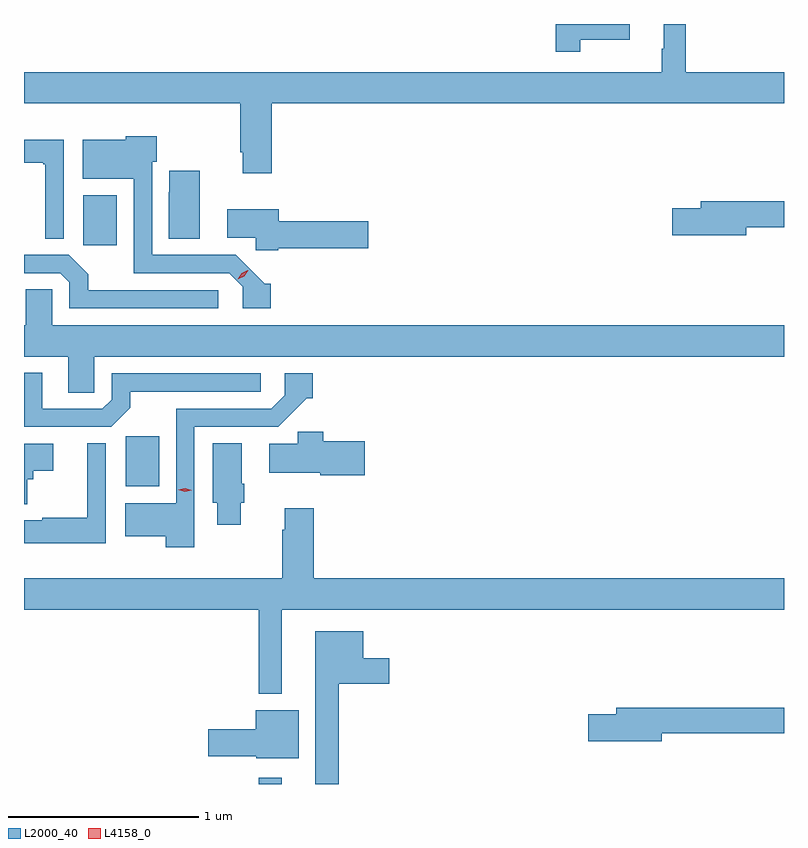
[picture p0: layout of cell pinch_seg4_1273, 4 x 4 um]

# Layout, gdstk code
import gdstk
lib = gdstk.Library(unit=1e-6, precision=1e-09)
def R(c, l, rs):  # rectangles x0, y0, x1, y1
    for r in rs: c.add(gdstk.rectangle(r[:2], r[2:], *l))
def P(c, l, *ps):  # polygons
    for p in ps: c.add(gdstk.Polygon(p, *l))
L2000_40 = (2000, 40)
L4158_0 = (4158, 0)

pinch_seg4_1273 = lib.new_cell('pinch_seg4_1273')
R(pinch_seg4_1273, L2000_40, [(349.638,769.262,349.759,769.294), (348.938,770.828,349.114,771.092), (348.716,772.097,348.892,772.36)])
P(pinch_seg4_1273, L2000_40, [(349.706,772.844),(352.403,772.844),(352.403,773.008),(351.887,773.008),(351.887,773.262),(351.77,773.262),(351.77,773.132),(351.759,773.132),(351.759,773.008),(348.403,773.008),(348.403,772.844),(349.541,772.844),(349.541,772.588),(349.553,772.588),(349.553,772.476),(349.706,772.476)],
  [(351.331,773.18),(351.592,773.18),(351.592,773.262),(351.202,773.262),(351.202,773.115),(351.331,773.115)],
  [(349.702,771.895),(349.67,771.895),(349.518,772.047),(349.077,772.047),(349.077,772.536),(349.102,772.536),(349.102,772.672),(348.939,772.672),(348.939,772.654),(348.713,772.654),(348.713,772.448),(348.981,772.448),(348.981,771.951),(349.482,771.951),(349.554,771.879),(349.554,771.765),(349.702,771.765)],
  [(348.612,772.654),(348.403,772.654),(348.403,772.532),(348.504,772.532),(348.504,772.525),(348.515,772.525),(348.515,772.132),(348.612,772.132)],
  [(349.327,772.489),(349.167,772.489),(349.167,772.376),(349.166,772.376),(349.166,772.132),(349.327,772.132)],
  [(352.204,772.192),(352.403,772.192),(352.403,772.328),(351.965,772.328),(351.965,772.292),(351.816,772.292),(351.816,772.15),(352.204,772.15)],
  [(349.74,772.081),(350.215,772.081),(350.215,772.223),(349.744,772.223),(349.744,772.288),(349.473,772.288),(349.473,772.136),(349.623,772.136),(349.623,772.071),(349.74,772.071)],
  [(349.426,771.861),(348.741,771.861),(348.741,771.945),(348.639,772.047),(348.403,772.047),(348.403,771.951),(348.594,771.951),(348.642,771.903),(348.642,771.765),(349.426,771.765)],
  [(348.774,771.512),(352.403,771.512),(352.403,771.676),(348.552,771.676),(348.552,771.866),(348.413,771.866),(348.413,771.676),(348.403,771.676),(348.403,771.512),(348.635,771.512),(348.635,771.322),(348.774,771.322)],
  [(348.963,771.243),(348.963,771.327),(349.648,771.327),(349.648,771.423),(348.864,771.423),(348.864,771.285),(348.816,771.237),(348.499,771.237),(348.499,771.427),(348.403,771.427),(348.403,771.141),(348.861,771.141)],
  [(349.299,771.141),(349.74,771.141),(349.892,771.293),(349.924,771.293),(349.924,771.423),(349.776,771.423),(349.776,771.309),(349.704,771.237),(349.203,771.237),(349.203,770.74),(348.935,770.74),(348.935,770.567),(349.15,770.567),(349.15,770.508),(349.299,770.508)],
  [(350.197,771.066),(349.979,771.066),(349.979,771.117),(349.845,771.117),(349.845,771.052),(349.695,771.052),(349.695,770.9),(349.962,770.9),(349.962,770.888),(350.197,770.888)],
  [(349.543,770.742),(349.562,770.742),(349.562,770.842),(349.549,770.842),(349.549,771.056),(349.397,771.056),(349.397,770.742),(349.421,770.742),(349.421,770.627),(349.543,770.627)],
  [(348.834,771.056),(348.737,771.056),(348.737,770.664),(348.498,770.664),(348.498,770.65),(348.403,770.65),(348.403,770.528),(348.834,770.528)],
  [(348.42,770.867),(348.451,770.867),(348.451,770.912),(348.556,770.912),(348.556,771.052),(348.403,771.052),(348.403,770.735),(348.42,770.735)],
  [(349.759,770.18),(352.403,770.18),(352.403,770.344),(349.928,770.344),(349.928,770.713),(349.775,770.713),(349.775,770.6),(349.763,770.6),(349.763,770.344),(348.403,770.344),(348.403,770.18),(349.638,770.18),(349.638,769.736),(349.759,769.736)],
  [(350.059,769.79),(350.326,769.79),(350.326,769.924),(350.188,769.924),(350.188,770.065),(349.937,770.065),(349.937,769.262),(350.059,769.262)],
  [(351.76,769.528),(352.403,769.528),(352.403,769.664),(351.521,769.664),(351.521,769.628),(351.372,769.628),(351.372,769.486),(351.76,769.486)],
  [(349.849,769.651),(349.622,769.651),(349.622,769.55),(349.374,769.55),(349.374,769.408),(349.626,769.408),(349.626,769.397),(349.849,769.397)])
P(pinch_seg4_1273, L4158_0, [(349.25,770.799),(349.215,770.811),(349.215,770.811),(349.215,770.811),(349.251,770.819),(349.286,770.807),(349.287,770.807),(349.286,770.807)],
  [(349.528,771.918),(349.528,771.918),(349.548,771.95),(349.581,771.967),(349.582,771.967),(349.582,771.966),(349.562,771.935),(349.528,771.918)])

lib.write_gds('pinch_seg4_1273.gds')
